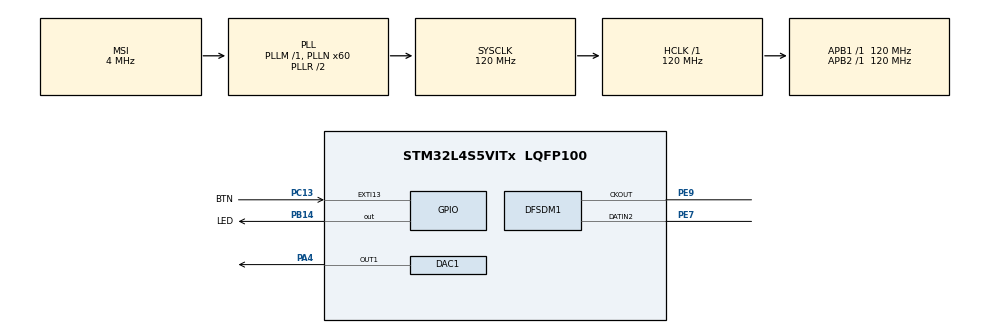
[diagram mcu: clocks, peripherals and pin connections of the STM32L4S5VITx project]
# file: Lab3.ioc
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ADC1.Channel-0\#ChannelRegularConversion=ADC_CHANNEL_VREFINT
ADC1.Channel-1\#ChannelRegularConversion=ADC_CHANNEL_TEMPSENSOR
ADC1.DiscontinuousConvMode=ENABLE
ADC1.NbrOfConversion=2
ADC1.NbrOfConversionFlag=1
ADC1.OffsetNumber-0\#ChannelRegularConversion=ADC_OFFSET_NONE
ADC1.OffsetNumber-1\#ChannelRegularConversion=ADC_OFFSET_NONE
ADC1.Rank-0\#ChannelRegularConversion=1
ADC1.Rank-1\#ChannelRegularConversion=2
ADC1.SamplingTime-0\#ChannelRegularConversion=ADC_SAMPLETIME_24CYCLES_5
ADC1.SamplingTime-1\#ChannelRegularConversion=ADC_SAMPLETIME_24CYCLES_5
ADC1.master=1
DAC1.DAC_Trigger-DAC_OUT1=DAC_TRIGGER_T2_TRGO
DFSDM1.Divider=50
DFSDM1.DmaMode_reg_FIL0=ENABLE
DFSDM1.FastMode_reg_FIL0=ENABLE
DFSDM1.Filter_regChannel_FIL0=DFSDM_CHANNEL_2
DFSDM1.Fosr_FIL0=54
DFSDM1.SincOrder_FIL0=DFSDM_FILTER_SINC3_ORDER
Dma.DAC1_CH1.0.Direction=DMA_MEMORY_TO_PERIPH
Dma.DAC1_CH1.0.EventEnable=DISABLE
Dma.DAC1_CH1.0.Instance=DMA1_Channel3
Dma.DAC1_CH1.0.MemDataAlignment=DMA_MDATAALIGN_WORD
Dma.DAC1_CH1.0.MemInc=DMA_MINC_ENABLE
Dma.DAC1_CH1.0.Mode=DMA_CIRCULAR
Dma.DAC1_CH1.0.PeriphDataAlignment=DMA_PDATAALIGN_HALFWORD
Dma.DAC1_CH1.0.PeriphInc=DMA_PINC_DISABLE
Dma.DAC1_CH1.0.Polarity=HAL_DMAMUX_REQUEST_GEN_RISING
Dma.DAC1_CH1.0.Priority=DMA_PRIORITY_LOW
Dma.DAC1_CH1.0.RequestNumber=1
Dma.DAC1_CH1.0.SignalID=NONE
Dma.DAC1_CH1.0.SyncEnable=DISABLE
Dma.DAC1_CH1.0.SyncPolarity=HAL_DMAMUX_SYNC_NO_EVENT
Dma.DAC1_CH1.0.SyncRequestNumber=1
Dma.DAC1_CH1.0.SyncSignalID=NONE
Dma.DFSDM1_FLT0.1.Direction=DMA_PERIPH_TO_MEMORY
Dma.DFSDM1_FLT0.1.EventEnable=DISABLE
Dma.DFSDM1_FLT0.1.Instance=DMA1_Channel4
Dma.DFSDM1_FLT0.1.MemDataAlignment=DMA_MDATAALIGN_WORD
Dma.DFSDM1_FLT0.1.MemInc=DMA_MINC_ENABLE
Dma.DFSDM1_FLT0.1.Mode=DMA_NORMAL
Dma.DFSDM1_FLT0.1.PeriphDataAlignment=DMA_PDATAALIGN_WORD
Dma.DFSDM1_FLT0.1.PeriphInc=DMA_PINC_DISABLE
Dma.DFSDM1_FLT0.1.Polarity=HAL_DMAMUX_REQUEST_GEN_RISING
Dma.DFSDM1_FLT0.1.Priority=DMA_PRIORITY_LOW
Dma.DFSDM1_FLT0.1.RequestNumber=1
Dma.DFSDM1_FLT0.1.SignalID=NONE
Dma.DFSDM1_FLT0.1.SyncEnable=DISABLE
Dma.DFSDM1_FLT0.1.SyncPolarity=HAL_DMAMUX_SYNC_NO_EVENT
Dma.DFSDM1_FLT0.1.SyncRequestNumber=1
Dma.DFSDM1_FLT0.1.SyncSignalID=NONE
Dma.Request0=DAC1_CH1
Dma.Request1=DFSDM1_FLT0
Mcu.Family=STM32L4
Mcu.Name=STM32L4S5VITx
Mcu.Package=LQFP100
NVIC.DMA1_Channel3_IRQn=true\:0\:0\:false\:false\:true\:false\:true\:true
NVIC.DMA1_Channel4_IRQn=true\:0\:0\:false\:false\:true\:false\:true\:true
NVIC.EXTI15_10_IRQn=true\:0\:0\:false\:false\:true\:true\:true\:true
NVIC.PriorityGroup=NVIC_PRIORITYGROUP_4
NVIC.TIM2_IRQn=true\:0\:0\:false\:false\:true\:true\:true\:true
NVIC.TIM3_IRQn=true\:0\:0\:false\:false\:true\:true\:true\:true
PA13\ (JTMS/SWDIO).Signal=SYS_JTMS-SWDIO
PA4.Signal=COMP_DAC11_group
PB14.GPIO_Label=LED
PB14.Signal=GPIO_Output
PB3\ (JTDO/TRACESWO).Signal=SYS_JTDO-SWO
PC13.GPIO_Label=BTN
PC13.Signal=GPXTI13
PE7.Signal=S_DATAIN2DFSDM1
PE9.Signal=S_CKOUTDFSDM1
ProjectManager.HeapSize=0x200
ProjectManager.StackSize=0x400
ProjectManager.TargetToolchain=STM32CubeIDE
RCC.ADCFreq_Value=48000000
RCC.AHBFreq_Value=120000000
RCC.APB1Freq_Value=120000000
RCC.APB1TimFreq_Value=120000000
RCC.APB2Freq_Value=120000000
RCC.APB2TimFreq_Value=120000000
RCC.CortexFreq_Value=120000000
RCC.HCLKFreq_Value=120000000
RCC.HSE_VALUE=8000000
RCC.HSI48_VALUE=48000000
RCC.HSI_VALUE=16000000
RCC.LSE_VALUE=32768
RCC.MSI_VALUE=4000000
RCC.PLLN=60
RCC.PLLSAI1N=24
RCC.SYSCLKFreq_VALUE=120000000
RCC.SYSCLKSource=RCC_SYSCLKSOURCE_PLLCLK
RCC.USBFreq_Value=48000000
RCC.VCOOutputFreq_Value=240000000
SH.COMP_DAC11_group.0=DAC1_OUT1,DAC_OUT1
SH.S_CKOUTDFSDM1.0=DFSDM1_CKOUT,PDM_SPI_input_from_ch2_and_internal_clock
SH.S_DATAIN2DFSDM1.0=DFSDM1_DATIN2,PDM_SPI_input_from_ch2_and_internal_clock
TIM2.Period=2727
TIM2.TIM_MasterOutputTrigger=TIM_TRGO_UPDATE
TIM3.Period=500
TIM3.Prescaler=40000
TIM4.Period=2000
TIM4.Prescaler=4000
VP_ADC1_TempSens_Input.Mode=IN-TempSens
VP_ADC1_Vref_Input.Mode=IN-Vrefint
VP_TIM2_VS_ClockSourceINT.Mode=Internal
VP_TIM3_VS_ClockSourceINT.Mode=Internal
VP_TIM4_VS_ClockSourceINT.Mode=Internal
board=B-L4S5I-IOT01A

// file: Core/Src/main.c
/* USER CODE BEGIN Header */
/**
  ******************************************************************************
  * @file           : main.c
  * @brief          : Main program body
  ******************************************************************************
  * @attention
  *
  * Copyright (c) 2023 STMicroelectronics.
  * All rights reserved.
  *
  * This software is licensed under terms that can be found in the LICENSE file
  * in the root directory of this software component.
  * If no LICENSE file comes with this software, it is provided AS-IS.
  *
  ******************************************************************************
  */
/* USER CODE END Header */
#include "main.h"

/* USER CODE BEGIN Includes */
#define ARM_MATH_CM4
#include "arm_math.h"
#include <stdio.h>
#include <math.h>
/* USER CODE END Includes */

/* USER CODE BEGIN PD */

#define BUFFER_SIZE 90000

int32_t micBuffer[BUFFER_SIZE];
//uint16_t noteIndex =0;

//PART 2 uncomment sinewave
uint32_t sineWave[] ={ 100.0, 114.56011677350048, 128.80990993652378, 142.44566988758152, 155.17677407704457, 166.73188112222394, 176.8647139778532, 185.35930890373464, 192.03461835691593, 196.74836970574253, 199.4000975239946, 199.93328483702393, 198.33656768294662, 194.64397731576094, 188.9342148882519, 181.32897407355654, 171.9903473757996, 161.11737140978494, 148.94178478110854, 135.7230889801133, 121.74301755815569, 107.29953146609074, 92.70046853390923, 78.2569824418443, 64.27691101988673, 51.05821521889145, 38.88262859021508, 28.00965262420041, 18.671025926443463, 11.065785111748117, 5.356022684239048, 1.6634323170533816, 0.06671516297606095, 0.5999024760054095, 3.251630294257468, 7.9653816430840685, 14.640691096265368, 23.135286022146794, 33.26811887777604, 44.82322592295546, 57.554330112418526, 71.19009006347625, 85.43988322649952, 99.99999999999997 };

/* USER CODE END PD */

ADC_HandleTypeDef hadc1;

DAC_HandleTypeDef hdac1;
DMA_HandleTypeDef hdma_dac1_ch1;

DFSDM_Filter_HandleTypeDef hdfsdm1_filter0;
DFSDM_Channel_HandleTypeDef hdfsdm1_channel2;
DMA_HandleTypeDef hdma_dfsdm1_flt0;

TIM_HandleTypeDef htim2;
TIM_HandleTypeDef htim3;
TIM_HandleTypeDef htim4;

/* USER CODE BEGIN PV */
float angle =0;
uint8_t sine =0;
uint8_t playSound = 0;  // Flag to control sound generation
uint8_t recording = 0; // Indicates whether recording is active
uint8_t noteIndex=0;

/* USER CODE END PV */

void SystemClock_Config(void);
static void MX_GPIO_Init(void);
static void MX_DMA_Init(void);
static void MX_DAC1_Init(void);
static void MX_ADC1_Init(void);
static void MX_TIM2_Init(void);
static void MX_DFSDM1_Init(void);
static void MX_TIM3_Init(void);
static void MX_TIM4_Init(void);
/* USER CODE BEGIN PFP */
//timer used for led blinking
void HAL_TIM_PeriodElapsedCallback (TIM_HandleTypeDef * htim){
	if(htim == &htim3){
		if(recording)
			HAL_GPIO_TogglePin(LED_GPIO_Port, LED_Pin); // Make LED blink if recording
	}
	else if(htim == &htim2){
			if(playSound){
//			angle += 0.130899;
//			sine = (uint8_t)((arm_sin_f32(angle) + 1) * 100);
			// Output the sample to the DAC channel
			HAL_DAC_SetValue(&hdac1, DAC_CHANNEL_1, DAC_ALIGN_8B_R, sineWave[noteIndex] * 0.8);
			noteIndex = (noteIndex + 1)%44;
			}
		}

}

uint32_t sine_wave(float x){
	uint32_t sine;
	float radians =2*3.14*x;
	sine = (uint32_t)((arm_sin_f32(radians) + 1) * 80);
	return sine;
}

uint32_t makeNote(int samples){
	uint32_t array[samples];
	for (int i=0;i<samples;i++){
		float mod = (float)i/(float)samples;
		array[i]=sine_wave(mod);
	}
	return array;
}

//==============Part 1: Driving DAC with Timer and Global Interrupt======================
//void HAL_GPIO_EXTI_Callback(uint16_t GPIO_Pin){
//	if (GPIO_Pin == BTN_Pin){
//		GPIO_PinState ledState = HAL_GPIO_ReadPin(LED_GPIO_Port, LED_Pin);
//
//		if (ledState == GPIO_PIN_SET) { // The LED is currently ON
//			HAL_GPIO_TogglePin(LED_GPIO_Port, LED_Pin); // Turn LED OFF
//			playSound = 0;  // Stop Playing Sound
//		} else { // The LED is currently OFF
//			HAL_GPIO_TogglePin(LED_GPIO_Port, LED_Pin); // Turn LED ON
//			playSound = 1;  // Set the flag to start generating sound
//		}
//	}
//}

//=============Part 2: Driving DAC with Timer and DMA====================
//void HAL_GPIO_EXTI_Callback(uint16_t GPIO_Pin){
//	if (GPIO_Pin == BTN_Pin){
//		GPIO_PinState ledState = HAL_GPIO_ReadPin(LED_GPIO_Port, LED_Pin);
//		if (ledState == GPIO_PIN_SET) { // The LED is currently ON
//			HAL_GPIO_TogglePin(LED_GPIO_Port, LED_Pin); // Turn LED OFF
//			HAL_DAC_Stop(&hdac1, DAC_CHANNEL_1);  // Stop the DAC
//		} else { // The LED is currently OFF
//			HAL_GPIO_TogglePin(LED_GPIO_Port, LED_Pin); // Turn LED ON
//            HAL_DAC_Start(&hdac1, DAC_CHANNEL_1);  // Start the DAC
//		}
//	}
//}

//=============Part 3: DFSDM Microphone======================================
//void HAL_GPIO_EXTI_Callback(uint16_t GPIO_Pin){
//	if (GPIO_Pin == BTN_Pin){
//		HAL_DAC_Stop_DMA(&hdac1, DAC_CHANNEL_1);
//		recording=1;
//		HAL_DFSDM_FilterRegularStart_DMA(&hdfsdm1_filter0, &micBuffer, BUFFER_SIZE); //start recording
//	}
//}
//
//void HAL_DFSDM_FilterRegConvCpltCallback(DFSDM_Filter_HandleTypeDef *hdfsdm_filter ){ //invoked when conversion of mic input is complete
//	if(hdfsdm_filter == &hdfsdm1_filter0){
//		HAL_DFSDM_FilterRegularStop_DMA(&hdfsdm1_filter0);
//		//do the shifting stuff
//		for (int i = 0; i < BUFFER_SIZE; i++) {
//		    if (micBuffer[i] < 0) {
//		    	micBuffer[i] = -micBuffer[i]; // Multiply it by -1 to make it positive
//		    }
//		    micBuffer[i] = micBuffer[i] >> 11; //shift by 8 to get rid of the garbage
//		}
//		recording=0;//stop blinking
//		  HAL_GPIO_WritePin(LED_GPIO_Port, LED_Pin, GPIO_PIN_SET);
//		  HAL_DAC_Start_DMA(&hdac1, DAC_CHANNEL_1, &micBuffer, BUFFER_SIZE, DAC_ALIGN_12B_R); //play back the recorded data on speaker
//	}
// }

//=================Part 4: Putting it all together======================
int currentCaseIndex = 0;
int numCases = 8; // Number of notes (adjust as needed)

void HAL_GPIO_EXTI_Callback(uint16_t GPIO_Pin) {
    if (GPIO_Pin == BTN_Pin) {
        HAL_DAC_Stop_DMA(&hdac1, DAC_CHANNEL_1); // Stop any ongoing audio playback

        switch (currentCaseIndex) {
        	case 0: //record msg
        		HAL_DAC_Stop_DMA(&hdac1, DAC_CHANNEL_1);
				recording=1;
				HAL_DFSDM_FilterRegularStart_DMA(&hdfsdm1_filter0, &micBuffer, BUFFER_SIZE); //start recording
				break;
			case 1: //play 1st note
				HAL_DAC_Start_DMA(&hdac1, DAC_CHANNEL_1, makeNote(42), 42, DAC_ALIGN_8B_R);
				break;
			case 2: //play 2nd note
				HAL_DAC_Start_DMA(&hdac1, DAC_CHANNEL_1, (uint32_t *)makeNote(50), 50, DAC_ALIGN_8B_R);
				break;
			case 3: //play 3rd note
				HAL_DAC_Start_DMA(&hdac1, DAC_CHANNEL_1, (uint32_t *)makeNote(62), 62, DAC_ALIGN_8B_R);
				break;
			case 4: //play recorded msg
				HAL_DAC_Start_DMA(&hdac1, DAC_CHANNEL_1, &micBuffer, BUFFER_SIZE, DAC_ALIGN_12B_R);
				break;
			case 5: //play 4th note
				HAL_DAC_Start_DMA(&hdac1, DAC_CHANNEL_1, (uint32_t *)makeNote(50), 50, DAC_ALIGN_8B_R);
				break;
			case 6: //play 5th note
				HAL_DAC_Start_DMA(&hdac1, DAC_CHANNEL_1, (uint32_t *)makeNote(80), 80, DAC_ALIGN_8B_R);
				break;
			case 7: //play 6th note
				HAL_DAC_Start_DMA(&hdac1, DAC_CHANNEL_1, (uint32_t *)makeNote(120), 120, DAC_ALIGN_8B_R);
				break;
			default:
				break;
		}
        currentCaseIndex = (currentCaseIndex + 1) % numCases; // Move to the next note and loop around
    }
}

void HAL_DFSDM_FilterRegConvCpltCallback(DFSDM_Filter_HandleTypeDef *hdfsdm_filter ){ //invoked when conversion of mic input is complete
	if(hdfsdm_filter == &hdfsdm1_filter0){
		HAL_DFSDM_FilterRegularStop_DMA(&hdfsdm1_filter0);
		//do the shifting stuff
		for (int i = 0; i < BUFFER_SIZE; i++) {
		    if (micBuffer[i] < 0) {
		    	micBuffer[i] = -micBuffer[i]; // Multiply it by -1 to make it positive
		    }
		    micBuffer[i] = micBuffer[i] >> 10; //shift by 8 to get rid of the garbage
		}
		recording=0;//stop blinking
	}
 }

/* USER CODE END PFP */

int main(void)
{

  /* MCU Configuration--------------------------------------------------------*/

  /* Reset of all peripherals, Initializes the Flash interface and the Systick. */
  HAL_Init();

  /* Configure the system clock */
  SystemClock_Config();

  /* Initialize all configured peripherals */
  MX_GPIO_Init();
  MX_DMA_Init();
  MX_DAC1_Init();
  MX_ADC1_Init();
  MX_TIM2_Init();
  MX_DFSDM1_Init();
  MX_TIM3_Init();
  MX_TIM4_Init();
  /* USER CODE BEGIN 2 */
//  HAL_DAC_Start(&hdac1, DAC_CHANNEL_1); // Pin D7 //PART 1
//  HAL_DAC_Start_DMA(&hdac1, DAC_CHANNEL_1, &sineWave, BUFFER_SIZE, DAC_ALIGN_12B_R); //play the sine wave with DMA //PART 2
//  HAL_DAC_Start_DMA(&hdac1, DAC_CHANNEL_1, &micBuffer, BUFFER_SIZE, DAC_ALIGN_12B_L); //play back the recorded data
//  HAL_DFSDM_FilterRegularStart_DMA(&hdfsdm1_filter0, &micBuffer, BUFFER_SIZE);

  /* USER CODE END 2 */

  /* Infinite loop */
  while (1)
  {

  }
}

void SystemClock_Config(void)
{
  RCC_OscInitTypeDef RCC_OscInitStruct = {0};
  RCC_ClkInitTypeDef RCC_ClkInitStruct = {0};

  /** Configure the main internal regulator output voltage
  */
  if (HAL_PWREx_ControlVoltageScaling(PWR_REGULATOR_VOLTAGE_SCALE1_BOOST) != HAL_OK)
  {
    Error_Handler();
  }

  /** Initializes the RCC Oscillators according to the specified parameters
  * in the RCC_OscInitTypeDef structure.
  */
  RCC_OscInitStruct.OscillatorType = RCC_OSCILLATORTYPE_MSI;
  RCC_OscInitStruct.MSIState = RCC_MSI_ON;
  RCC_OscInitStruct.MSICalibrationValue = 0;
  RCC_OscInitStruct.MSIClockRange = RCC_MSIRANGE_6;
  RCC_OscInitStruct.PLL.PLLState = RCC_PLL_ON;
  RCC_OscInitStruct.PLL.PLLSource = RCC_PLLSOURCE_MSI;
  RCC_OscInitStruct.PLL.PLLM = 1;
  RCC_OscInitStruct.PLL.PLLN = 60;
  RCC_OscInitStruct.PLL.PLLP = RCC_PLLP_DIV2;
  RCC_OscInitStruct.PLL.PLLQ = RCC_PLLQ_DIV2;
  RCC_OscInitStruct.PLL.PLLR = RCC_PLLR_DIV2;
  if (HAL_RCC_OscConfig(&RCC_OscInitStruct) != HAL_OK)
  {
    Error_Handler();
  }

  /** Initializes the CPU, AHB and APB buses clocks
  */
  RCC_ClkInitStruct.ClockType = RCC_CLOCKTYPE_HCLK|RCC_CLOCKTYPE_SYSCLK
                              |RCC_CLOCKTYPE_PCLK1|RCC_CLOCKTYPE_PCLK2;
  RCC_ClkInitStruct.SYSCLKSource = RCC_SYSCLKSOURCE_PLLCLK;
  RCC_ClkInitStruct.AHBCLKDivider = RCC_SYSCLK_DIV1;
  RCC_ClkInitStruct.APB1CLKDivider = RCC_HCLK_DIV1;
  RCC_ClkInitStruct.APB2CLKDivider = RCC_HCLK_DIV1;

  if (HAL_RCC_ClockConfig(&RCC_ClkInitStruct, FLASH_LATENCY_5) != HAL_OK)
  {
    Error_Handler();
  }
}

static void MX_ADC1_Init(void)
{

  ADC_ChannelConfTypeDef sConfig = {0};

  /** Common config
  */
  hadc1.Instance = ADC1;
  hadc1.Init.ClockPrescaler = ADC_CLOCK_ASYNC_DIV1;
  hadc1.Init.Resolution = ADC_RESOLUTION_12B;
  hadc1.Init.DataAlign = ADC_DATAALIGN_RIGHT;
  hadc1.Init.ScanConvMode = ADC_SCAN_ENABLE;
  hadc1.Init.EOCSelection = ADC_EOC_SINGLE_CONV;
  hadc1.Init.LowPowerAutoWait = DISABLE;
  hadc1.Init.ContinuousConvMode = DISABLE;
  hadc1.Init.NbrOfConversion = 2;
  hadc1.Init.DiscontinuousConvMode = ENABLE;
  hadc1.Init.NbrOfDiscConversion = 1;
  hadc1.Init.ExternalTrigConv = ADC_SOFTWARE_START;
  hadc1.Init.ExternalTrigConvEdge = ADC_EXTERNALTRIGCONVEDGE_NONE;
  hadc1.Init.DMAContinuousRequests = DISABLE;
  hadc1.Init.Overrun = ADC_OVR_DATA_PRESERVED;
  hadc1.Init.OversamplingMode = DISABLE;
  if (HAL_ADC_Init(&hadc1) != HAL_OK)
  {
    Error_Handler();
  }

  /** Configure Regular Channel
  */
  sConfig.Channel = ADC_CHANNEL_VREFINT;
  sConfig.Rank = ADC_REGULAR_RANK_1;
  sConfig.SamplingTime = ADC_SAMPLETIME_24CYCLES_5;
  sConfig.SingleDiff = ADC_SINGLE_ENDED;
  sConfig.OffsetNumber = ADC_OFFSET_NONE;
  sConfig.Offset = 0;
  if (HAL_ADC_ConfigChannel(&hadc1, &sConfig) != HAL_OK)
  {
    Error_Handler();
  }

  /** Configure Regular Channel
  */
  sConfig.Channel = ADC_CHANNEL_TEMPSENSOR;
  sConfig.Rank = ADC_REGULAR_RANK_2;
  if (HAL_ADC_ConfigChannel(&hadc1, &sConfig) != HAL_OK)
  {
    Error_Handler();
  }

}

static void MX_DAC1_Init(void)
{

  DAC_ChannelConfTypeDef sConfig = {0};

  /** DAC Initialization
  */
  hdac1.Instance = DAC1;
  if (HAL_DAC_Init(&hdac1) != HAL_OK)
  {
    Error_Handler();
  }

  /** DAC channel OUT1 config
  */
  sConfig.DAC_SampleAndHold = DAC_SAMPLEANDHOLD_DISABLE;
  sConfig.DAC_Trigger = DAC_TRIGGER_T2_TRGO;
  sConfig.DAC_HighFrequency = DAC_HIGH_FREQUENCY_INTERFACE_MODE_ABOVE_80MHZ;
  sConfig.DAC_OutputBuffer = DAC_OUTPUTBUFFER_ENABLE;
  sConfig.DAC_ConnectOnChipPeripheral = DAC_CHIPCONNECT_DISABLE;
  sConfig.DAC_UserTrimming = DAC_TRIMMING_FACTORY;
  if (HAL_DAC_ConfigChannel(&hdac1, &sConfig, DAC_CHANNEL_1) != HAL_OK)
  {
    Error_Handler();
  }

}

static void MX_DFSDM1_Init(void)
{

  hdfsdm1_filter0.Instance = DFSDM1_Filter0;
  hdfsdm1_filter0.Init.RegularParam.Trigger = DFSDM_FILTER_SW_TRIGGER;
  hdfsdm1_filter0.Init.RegularParam.FastMode = ENABLE;
  hdfsdm1_filter0.Init.RegularParam.DmaMode = ENABLE;
  hdfsdm1_filter0.Init.FilterParam.SincOrder = DFSDM_FILTER_SINC3_ORDER;
  hdfsdm1_filter0.Init.FilterParam.Oversampling = 54;
  hdfsdm1_filter0.Init.FilterParam.IntOversampling = 1;
  if (HAL_DFSDM_FilterInit(&hdfsdm1_filter0) != HAL_OK)
  {
    Error_Handler();
  }
  hdfsdm1_channel2.Instance = DFSDM1_Channel2;
  hdfsdm1_channel2.Init.OutputClock.Activation = ENABLE;
  hdfsdm1_channel2.Init.OutputClock.Selection = DFSDM_CHANNEL_OUTPUT_CLOCK_SYSTEM;
  hdfsdm1_channel2.Init.OutputClock.Divider = 50;
  hdfsdm1_channel2.Init.Input.Multiplexer = DFSDM_CHANNEL_EXTERNAL_INPUTS;
  hdfsdm1_channel2.Init.Input.DataPacking = DFSDM_CHANNEL_STANDARD_MODE;
  hdfsdm1_channel2.Init.Input.Pins = DFSDM_CHANNEL_SAME_CHANNEL_PINS;
  hdfsdm1_channel2.Init.SerialInterface.Type = DFSDM_CHANNEL_SPI_RISING;
  hdfsdm1_channel2.Init.SerialInterface.SpiClock = DFSDM_CHANNEL_SPI_CLOCK_INTERNAL;
  hdfsdm1_channel2.Init.Awd.FilterOrder = DFSDM_CHANNEL_FASTSINC_ORDER;
  hdfsdm1_channel2.Init.Awd.Oversampling = 1;
  hdfsdm1_channel2.Init.Offset = 0;
  hdfsdm1_channel2.Init.RightBitShift = 0x00;
  if (HAL_DFSDM_ChannelInit(&hdfsdm1_channel2) != HAL_OK)
  {
    Error_Handler();
  }
  if (HAL_DFSDM_FilterConfigRegChannel(&hdfsdm1_filter0, DFSDM_CHANNEL_2, DFSDM_CONTINUOUS_CONV_ON) != HAL_OK)
  {
    Error_Handler();
  }

}

static void MX_TIM2_Init(void)
{

  TIM_ClockConfigTypeDef sClockSourceConfig = {0};
  TIM_MasterConfigTypeDef sMasterConfig = {0};

  htim2.Instance = TIM2;
  htim2.Init.Prescaler = 0;
  htim2.Init.CounterMode = TIM_COUNTERMODE_UP;
  htim2.Init.Period = 2727;
  htim2.Init.ClockDivision = TIM_CLOCKDIVISION_DIV1;
  htim2.Init.AutoReloadPreload = TIM_AUTORELOAD_PRELOAD_DISABLE;
  if (HAL_TIM_Base_Init(&htim2) != HAL_OK)
  {
    Error_Handler();
  }
  sClockSourceConfig.ClockSource = TIM_CLOCKSOURCE_INTERNAL;
  if (HAL_TIM_ConfigClockSource(&htim2, &sClockSourceConfig) != HAL_OK)
  {
    Error_Handler();
  }
  sMasterConfig.MasterOutputTrigger = TIM_TRGO_UPDATE;
  sMasterConfig.MasterSlaveMode = TIM_MASTERSLAVEMODE_DISABLE;
  if (HAL_TIMEx_MasterConfigSynchronization(&htim2, &sMasterConfig) != HAL_OK)
  {
    Error_Handler();
  }
  /* USER CODE BEGIN TIM2_Init 2 */
  HAL_TIM_Base_Start_IT(&htim2);
  /* USER CODE END TIM2_Init 2 */

}

static void MX_TIM3_Init(void)
{

  TIM_ClockConfigTypeDef sClockSourceConfig = {0};
  TIM_MasterConfigTypeDef sMasterConfig = {0};

  htim3.Instance = TIM3;
  htim3.Init.Prescaler = 40000;
  htim3.Init.CounterMode = TIM_COUNTERMODE_UP;
  htim3.Init.Period = 500;
  htim3.Init.ClockDivision = TIM_CLOCKDIVISION_DIV1;
  htim3.Init.AutoReloadPreload = TIM_AUTORELOAD_PRELOAD_DISABLE;
  if (HAL_TIM_Base_Init(&htim3) != HAL_OK)
  {
    Error_Handler();
  }
  sClockSourceConfig.ClockSource = TIM_CLOCKSOURCE_INTERNAL;
  if (HAL_TIM_ConfigClockSource(&htim3, &sClockSourceConfig) != HAL_OK)
  {
    Error_Handler();
  }
  sMasterConfig.MasterOutputTrigger = TIM_TRGO_RESET;
  sMasterConfig.MasterSlaveMode = TIM_MASTERSLAVEMODE_DISABLE;
  if (HAL_TIMEx_MasterConfigSynchronization(&htim3, &sMasterConfig) != HAL_OK)
  {
    Error_Handler();
  }
  /* USER CODE BEGIN TIM3_Init 2 */
  HAL_TIM_Base_Start_IT(&htim3);
  /* USER CODE END TIM3_Init 2 */

}

static void MX_TIM4_Init(void)
{

  TIM_ClockConfigTypeDef sClockSourceConfig = {0};
  TIM_MasterConfigTypeDef sMasterConfig = {0};

  htim4.Instance = TIM4;
  htim4.Init.Prescaler = 4000;
  htim4.Init.CounterMode = TIM_COUNTERMODE_UP;
  htim4.Init.Period = 2000;
  htim4.Init.ClockDivision = TIM_CLOCKDIVISION_DIV1;
  htim4.Init.AutoReloadPreload = TIM_AUTORELOAD_PRELOAD_DISABLE;
  if (HAL_TIM_Base_Init(&htim4) != HAL_OK)
  {
    Error_Handler();
  }
  sClockSourceConfig.ClockSource = TIM_CLOCKSOURCE_INTERNAL;
  if (HAL_TIM_ConfigClockSource(&htim4, &sClockSourceConfig) != HAL_OK)
  {
    Error_Handler();
  }
  sMasterConfig.MasterOutputTrigger = TIM_TRGO_RESET;
  sMasterConfig.MasterSlaveMode = TIM_MASTERSLAVEMODE_DISABLE;
  if (HAL_TIMEx_MasterConfigSynchronization(&htim4, &sMasterConfig) != HAL_OK)
  {
    Error_Handler();
  }
  /* USER CODE BEGIN TIM4_Init 2 */
  HAL_TIM_Base_Start_IT(&htim4);
  /* USER CODE END TIM4_Init 2 */

}

static void MX_DMA_Init(void)
{

  /* DMA controller clock enable */
  __HAL_RCC_DMAMUX1_CLK_ENABLE();
  __HAL_RCC_DMA1_CLK_ENABLE();

  /* DMA interrupt init */
  /* DMA1_Channel3_IRQn interrupt configuration */
  HAL_NVIC_SetPriority(DMA1_Channel3_IRQn, 0, 0);
  HAL_NVIC_EnableIRQ(DMA1_Channel3_IRQn);
  /* DMA1_Channel4_IRQn interrupt configuration */
  HAL_NVIC_SetPriority(DMA1_Channel4_IRQn, 0, 0);
  HAL_NVIC_EnableIRQ(DMA1_Channel4_IRQn);

}

static void MX_GPIO_Init(void)
{
  GPIO_InitTypeDef GPIO_InitStruct = {0};

  /* GPIO Ports Clock Enable */
  __HAL_RCC_GPIOC_CLK_ENABLE();
  __HAL_RCC_GPIOA_CLK_ENABLE();
  __HAL_RCC_GPIOE_CLK_ENABLE();
  __HAL_RCC_GPIOB_CLK_ENABLE();

  /*Configure GPIO pin Output Level */
  HAL_GPIO_WritePin(LED_GPIO_Port, LED_Pin, GPIO_PIN_RESET);

  /*Configure GPIO pin : BTN_Pin */
  GPIO_InitStruct.Pin = BTN_Pin;
  GPIO_InitStruct.Mode = GPIO_MODE_IT_RISING;
  GPIO_InitStruct.Pull = GPIO_NOPULL;
  HAL_GPIO_Init(BTN_GPIO_Port, &GPIO_InitStruct);

  /*Configure GPIO pin : LED_Pin */
  GPIO_InitStruct.Pin = LED_Pin;
  GPIO_InitStruct.Mode = GPIO_MODE_OUTPUT_PP;
  GPIO_InitStruct.Pull = GPIO_NOPULL;
  GPIO_InitStruct.Speed = GPIO_SPEED_FREQ_LOW;
  HAL_GPIO_Init(LED_GPIO_Port, &GPIO_InitStruct);

  /* EXTI interrupt init*/
  HAL_NVIC_SetPriority(EXTI15_10_IRQn, 0, 0);
  HAL_NVIC_EnableIRQ(EXTI15_10_IRQn);

}

void Error_Handler(void)
{
  __disable_irq();
  while (1)
  {
  }
}
